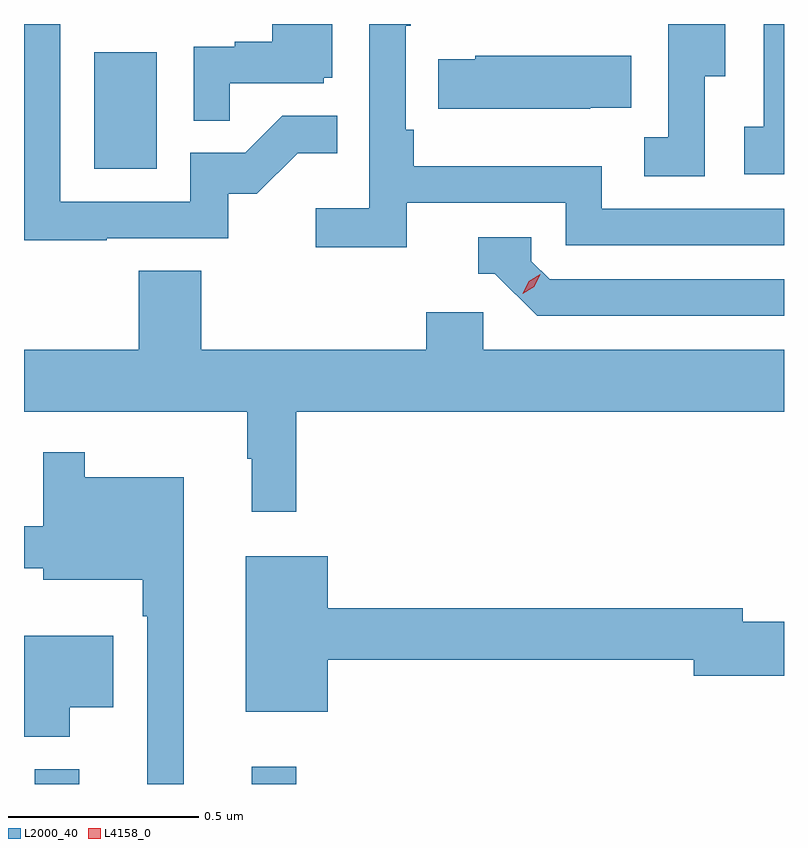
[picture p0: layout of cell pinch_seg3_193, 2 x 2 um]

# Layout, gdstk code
import gdstk
lib = gdstk.Library(unit=1e-6, precision=1e-09)
def R(c, l, rs):  # rectangles x0, y0, x1, y1
    for r in rs: c.add(gdstk.rectangle(r[:2], r[2:], *l))
def P(c, l, *ps):  # polygons
    for p in ps: c.add(gdstk.Polygon(p, *l))
L2000_40 = (2000, 40)
L4158_0 = (4158, 0)

pinch_seg3_193 = lib.new_cell('pinch_seg3_193')
R(pinch_seg3_193, L2000_40, [(956.815,731.905,956.933,731.944), (957.386,731.905,957.503,731.95), (956.972,733.524,957.136,733.831)])
P(pinch_seg3_193, L2000_40, [(958.578,733.768),(958.633,733.768),(958.633,733.905),(958.482,733.905),(958.482,733.607),(958.419,733.607),(958.419,733.504),(958.578,733.504)],
  [(957.005,733.341),(957.324,733.341),(957.324,733.458),(957.4,733.458),(957.507,733.565),(957.611,733.565),(957.611,733.664),(957.467,733.664),(957.369,733.566),(957.225,733.566),(957.225,733.437),(956.883,733.437),(956.883,733.905),(956.787,733.905),(956.787,733.336),(957.005,733.336)],
  [(957.794,733.434),(958.212,733.434),(958.212,733.323),(958.787,733.323),(958.787,733.419),(958.308,733.419),(958.308,733.531),(957.812,733.531),(957.812,733.627),(957.792,733.627),(957.792,733.9),(957.805,733.9),(957.805,733.905),(957.696,733.905),(957.696,733.42),(957.555,733.42),(957.555,733.318),(957.794,733.318)],
  [(958.787,733.905),(958.734,733.905),(958.734,733.634),(958.683,733.634),(958.683,733.509),(958.787,733.509)],
  [(957.329,733.749),(957.576,733.749),(957.576,733.764),(957.598,733.764),(957.598,733.905),(957.44,733.905),(957.44,733.858),(957.341,733.858),(957.341,733.845),(957.234,733.845),(957.234,733.651),(957.329,733.651)],
  [(958.277,733.685),(958.385,733.685),(958.385,733.822),(957.975,733.822),(957.975,733.812),(957.877,733.812),(957.877,733.682),(958.277,733.682)],
  [(958.787,733.233),(958.17,733.233),(958.122,733.281),(958.122,733.344),(957.983,733.344),(957.983,733.248),(958.026,733.248),(958.137,733.137),(958.787,733.137)],
  [(957.503,732.884),(958.787,732.884),(958.787,733.048),(957.996,733.048),(957.996,733.146),(957.845,733.146),(957.845,733.048),(957.254,733.048),(957.254,733.256),(957.089,733.256),(957.089,733.048),(956.787,733.048),(956.787,732.884),(957.375,732.884),(957.375,732.761),(957.386,732.761),(957.386,732.621),(957.503,732.621)],
  [(957.208,732.712),(956.947,732.712),(956.947,732.778),(956.838,732.778),(956.838,732.583),(956.787,732.583),(956.787,732.473),(956.837,732.473),(956.837,732.443),(957.099,732.443),(957.099,732.347),(957.111,732.347),(957.111,731.905),(957.208,731.905)],
  [(957.586,732.232),(958.55,732.232),(958.55,732.19),(958.787,732.19),(958.787,732.332),(958.678,732.332),(958.678,732.368),(957.586,732.368),(957.586,732.505),(957.371,732.505),(957.371,732.095),(957.586,732.095)],
  [(956.908,732.107),(957.022,732.107),(957.022,732.295),(956.787,732.295),(956.787,732.029),(956.908,732.029)])
P(pinch_seg3_193, L4158_0, [(958.099,733.195),(958.099,733.195),(958.115,733.228),(958.146,733.246),(958.146,733.246),(958.146,733.246),(958.13,733.214),(958.099,733.195)])

lib.write_gds('pinch_seg3_193.gds')
